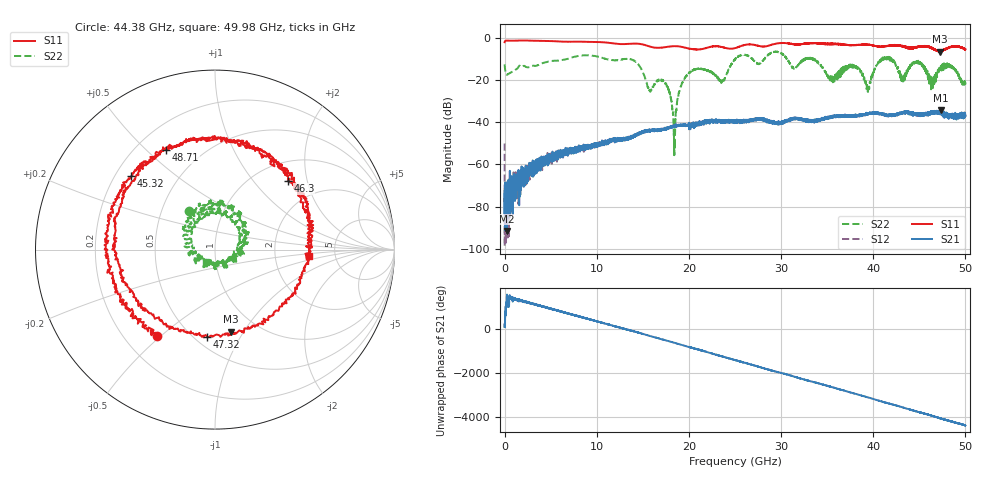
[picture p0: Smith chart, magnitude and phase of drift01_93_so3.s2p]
!Created with skrf (http://scikit-rf.org).
# Hz S RI R 50.0
!freq ReS11 ImS11 ReS21 ImS21 ReS12 ImS12 ReS22 ImS22
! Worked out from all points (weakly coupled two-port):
!   10001 points, 300 kHz to 50 GHz, reference 50 ohm
!   highest |S21| = -34.37 dB at 47.3 GHz (marker M1); lowest = -91.5 dB at 235.3 MHz (marker M2)
!   lowest |S11| = -6.6 dB at 47.21 GHz (marker M3), VSWR 2.75, Z = 37.6 - j44.1 ohm
!   |S11| at or under -10 dB: nowhere
!   |S22| runs from -55.6 to -6.6 dB; largest |S21 - S12| = 0.004
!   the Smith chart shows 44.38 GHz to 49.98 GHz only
!   S11 on the Smith chart (normalised r, x): 44.38 GHz: 0.33, -0.48; 45.32 GHz: 0.26, +0.35; 46.3 GHz: 1.38, +1.53; 47.32 GHz: 0.57, -0.74; 48.71 GHz: 0.32, +0.57; 49.98 GHz: 3.16, -0.32
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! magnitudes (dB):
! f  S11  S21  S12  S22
! 300 kHz  -2.2  -72.5  -50.1  -12.7
! 235.3 MHz  -1.4  -91.5  -71.1  -17.5
! 8.335 GHz  -1.9  -52.2  -52.3  -8.5
! 16.67 GHz  -4.8  -43.6  -44.0  -20.0
! 17.74 GHz  -4.3  -42.6  -42.8  -23.8
! 18.43 GHz  -4.1  -41.7  -41.8  -49.1
! 19.91 GHz  -5.1  -41.3  -41.6  -17.1
! 23.6 GHz  -4.5  -39.4  -39.4  -20.3
! 25 GHz  -5.0  -40.0  -39.8  -10.4
! 33.34 GHz  -2.6  -39.2  -39.3  -9.9
! 39.46 GHz  -3.3  -35.9  -36.3  -23.2
! 41.67 GHz  -3.9  -36.7  -36.9  -9.6
! 43.19 GHz  -4.2  -35.6  -35.6  -18.9
! 44.38 GHz  -4.7  -35.7  -36.1  -11.6
! 45.32 GHz  -4.1  -36.2  -36.3  -13.6
! 46.3 GHz  -5.1  -35.7  -35.8  -22.8
! 47.21 GHz  -6.6  -35.8  -35.2  -14.7
! 47.3 GHz  -6.3  -34.4  -35.5  -15.3
! 47.32 GHz  -6.2  -35.2  -36.0  -14.4
! 48.71 GHz  -4.2  -37.2  -37.5  -14.3
! 49.98 GHz  -5.6  -36.4  -36.7  -21.6
! 50 GHz  -5.5  -36.9  -37.5  -21.8
